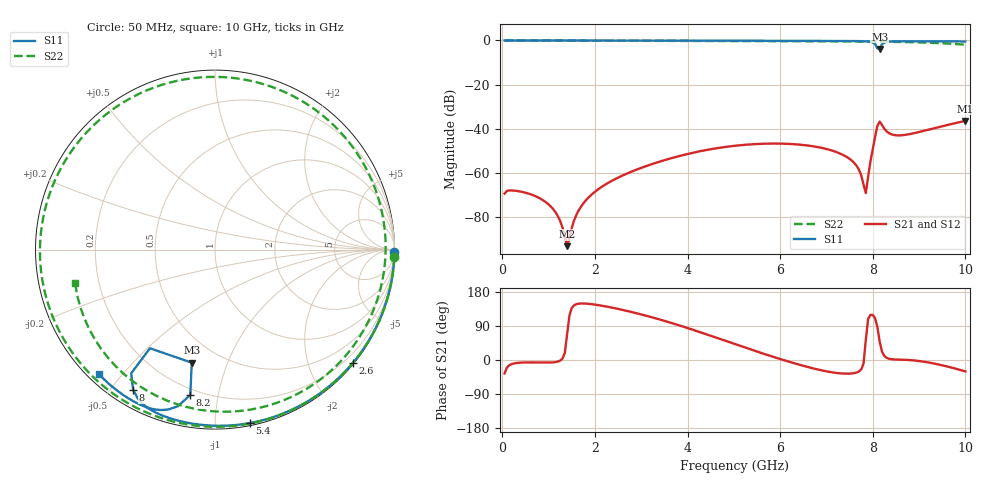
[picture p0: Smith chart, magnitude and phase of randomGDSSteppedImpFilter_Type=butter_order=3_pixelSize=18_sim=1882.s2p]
! freq	dB(S11)	phase(S11)	dB(S12)	phase(S12)
!  dB(S21)	phase(S21)	dB(S22)	phase(S22)
!S-par simulation data
#  GHz  S  DB  R 50
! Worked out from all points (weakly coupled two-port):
!   200 points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, 50 MHz to 10 GHz, reference 50 ohm
!   highest |S21| = -36.35 dB at 10 GHz (marker M1); lowest = -93.0 dB at 1.4 GHz (marker M2)
!   lowest |S11| = -3.8 dB at 8.15 GHz (marker M3), VSWR 4.61, Z = 17.5 - j37.7 ohm
!   |S11| at or under -10 dB: nowhere
!   |S22| runs from -1.9 to 0.0 dB; largest |S21 - S12| = 0
!   S11 on the Smith chart (normalised r, x): 50 MHz: open; 2.6 GHz: 0.03, -2.79; 5.4 GHz: 0.02, -1.22; 8 GHz: 0.07, -0.57; 8.2 GHz: 0.17, -0.83; 10 GHz: 0.03, -0.43
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0.05  -0.00 -0.8  -69.24 -35.3  -69.24 -35.3  -0.00 -2.4
0.65  -0.01 -10.1  -69.84 -6.3  -69.84 -6.3  -0.03 -31.2
1.4  -0.03 -21.5  -93.02 67.9  -93.02 67.9  -0.08 -66.0
1.55  -0.03 -23.8  -81.40 144.4  -81.40 144.4  -0.09 -72.8
1.75  -0.03 -26.8  -73.68 149.1  -73.68 149.1  -0.10 -81.8
2.6  -0.05 -39.5  -61.03 132.1  -61.03 132.1  -0.14 -118.8
3.4  -0.07 -51.0  -54.78 106.9  -54.78 106.9  -0.18 -153.0
4.25  -0.09 -63.0  -50.18 74.3  -50.18 74.3  -0.23 170.0
5.05  -0.11 -73.9  -47.56 40.9  -47.56 40.9  -0.28 132.8
5.4  -0.13 -78.6  -46.94 26.3  -46.94 26.3  -0.30 115.6
6.05  -0.15 -87.2  -46.67 0.7  -46.67 0.7  -0.34 81.7
6.7  -0.19 -95.7  -47.81 -21.7  -47.81 -21.7  -0.37 46.0
7.55  -0.27 -107.6  -54.38 -35.4  -54.38 -35.4  -0.44 -2.0
7.7  -0.30 -110.2  -58.38 -30.3  -58.38 -30.3  -0.46 -10.5
7.85  -0.40 -113.8  -69.03 53.2  -69.03 53.2  -0.49 -19.0
8  -0.87 -120.3  -49.02 118.9  -49.02 118.9  -0.51 -27.6
8.1  -3.63 -123.4  -38.53 86.6  -38.53 86.6  -0.54 -33.3
8.15  -3.83 -101.6  -36.71 47.8  -36.71 47.8  -0.55 -36.1
8.2  -1.71 -99.6  -38.24 21.9  -38.24 21.9  -0.56 -39.0
8.35  -0.52 -108.4  -41.91 3.2  -41.91 3.2  -0.60 -47.7
9.2  -0.38 -123.1  -40.36 -6.5  -40.36 -6.5  -1.01 -100.6
10  -0.46 -133.0  -36.35 -30.2  -36.35 -30.2  -1.92 -166.6
